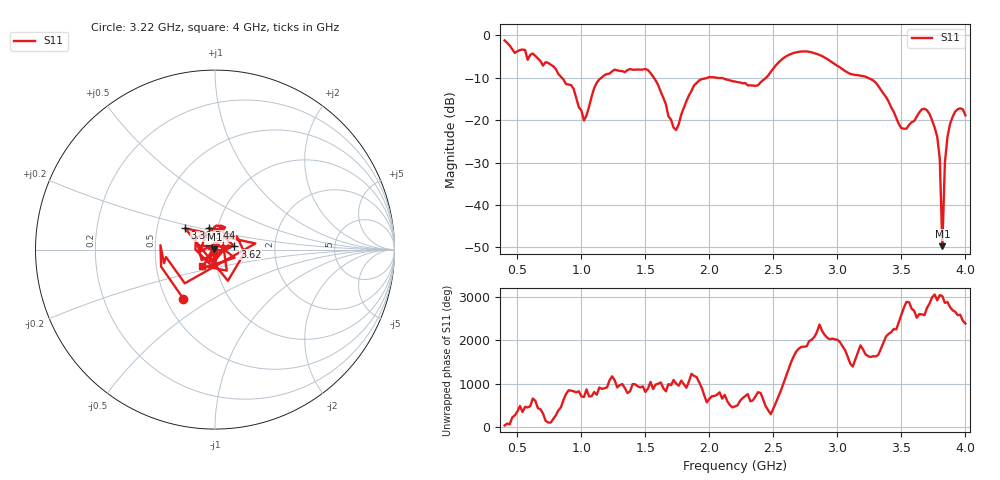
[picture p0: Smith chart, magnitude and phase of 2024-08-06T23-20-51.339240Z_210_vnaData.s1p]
!Created with skrf (http://scikit-rf.org).
# Hz S RI R 50.0
!freq ReS11 ImS11
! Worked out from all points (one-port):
!   181 points, 400 MHz to 4 GHz, reference 50 ohm
!   lowest |S11| = -49.7 dB at 3.82 GHz (marker M1), VSWR 1.01, Z = 49.7 + j0.163 ohm
!   |S11| at or under -10 dB: 1.566 GHz to 1.985 GHz (418.3 MHz wide, 23.6 % of centre); 2.057 GHz to 2.442 GHz (385.1 MHz wide, 17.1 % of centre); 3.237 GHz to end of sweep (the widest 3 of 4)
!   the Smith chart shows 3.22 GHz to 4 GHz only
!   S11 on the Smith chart (normalised r, x): 3.22 GHz: 0.61, -0.37; 3.36 GHz: 0.70, +0.17; 3.44 GHz: 0.90, +0.22; 3.62 GHz: 1.24, +0.04; 4 GHz: 0.86, -0.16
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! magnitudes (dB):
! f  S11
! 400 MHz  -1.2
! 860 MHz  -10.4
! 940 MHz  -12.7
! 1.02 GHz  -20.1
! 1.12 GHz  -11.2
! 1.3 GHz  -8.4
! 1.52 GHz  -8.2
! 1.72 GHz  -21.7
! 1.76 GHz  -21.0
! 1.92 GHz  -10.6
! 2.2 GHz  -10.9
! 2.38 GHz  -11.8
! 2.66 GHz  -4.1
! 3.1 GHz  -9.1
! 3.22 GHz  -9.8
! 3.36 GHz  -13.8
! 3.44 GHz  -18.0
! 3.5 GHz  -21.9
! 3.56 GHz  -21.1
! 3.62 GHz  -19.2
! 3.7 GHz  -17.7
! 3.78 GHz  -23.9
! 3.8 GHz  -29.2
! 3.82 GHz  -49.7
! 3.84 GHz  -30.0
! 3.86 GHz  -23.9
! 3.92 GHz  -18.0
! 4 GHz  -18.9
